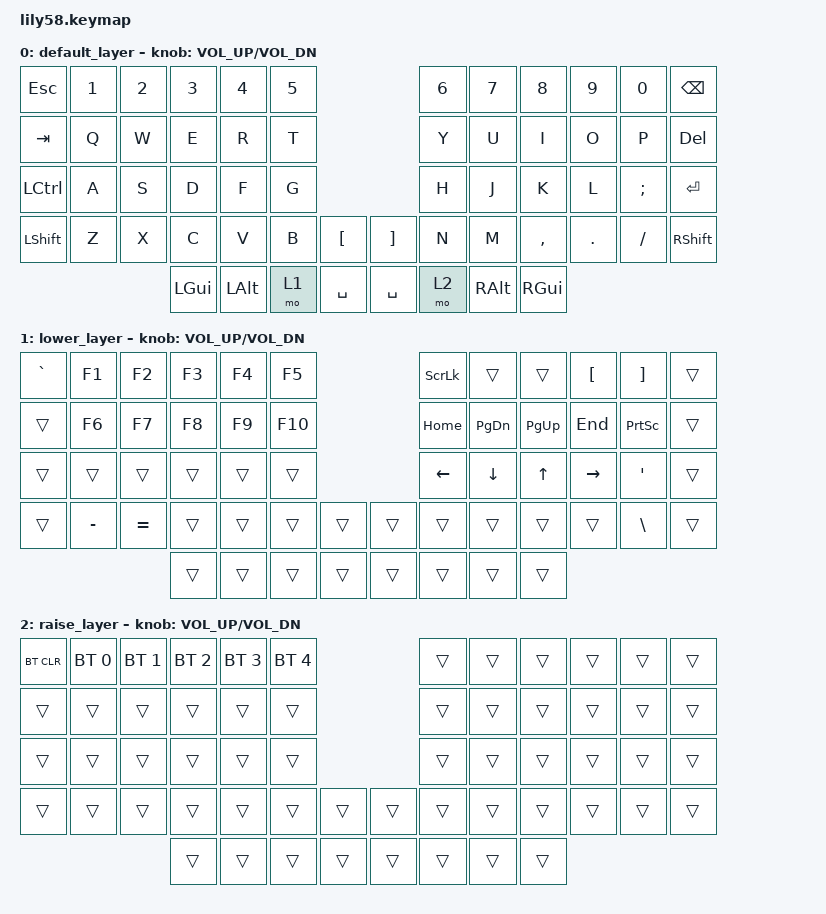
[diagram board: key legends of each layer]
/*
 * Copyright (c) 2020 The ZMK Contributors
 *
 * SPDX-License-Identifier: MIT
 */

#include <behaviors.dtsi>
#include <dt-bindings/zmk/keys.h>
#include <dt-bindings/zmk/bt.h>
#include <dt-bindings/zmk/ext_power.h>

/ {
    keymap {
        compatible = "zmk,keymap";

        default_layer {
// ------------------------------------------------------------------------------------------------------------
// |  ESC  |  1  |  2  |  3   |  4   |  5   |                   |  6   |  7    |  8    |  9   |   0   |   `   |
// |  TAB  |  Q  |  W  |  E   |  R   |  T   |                   |  Y   |  U    |  I    |  O   |   P   |   -   |
// |  CTRL |  A  |  S  |  D   |  F   |  G   |                   |  H   |  J    |  K    |  L   |   ;   |   '   |
// | SHIFT |  Z  |  X  |  C   |  V   |  B   |   "["  |  |  "]"  |  N   |  M    |  ,    |  .   |   /   | SHIFT |
//                     | ALT  | GUI  | LOWER|  SPACE |  | ENTER | RAISE| BSPC  | GUI   |
            bindings = <
&kp ESC   &kp N1 &kp N2 &kp N3   &kp N4   &kp N5                        &kp N6 &kp N7   &kp N8    &kp N9  &kp N0   &kp BSPC
&kp TAB   &kp Q  &kp W  &kp E    &kp R    &kp T                         &kp Y  &kp U    &kp I     &kp O   &kp P    &kp DEL 
&kp LCTRL &kp A  &kp S  &kp D    &kp F    &kp G                         &kp H  &kp J    &kp K     &kp L   &kp SEMI &kp RET
&kp LSHFT &kp Z  &kp X  &kp C    &kp V    &kp B  &kp LBKT    &kp RBKT   &kp N  &kp M    &kp COMMA &kp DOT &kp FSLH &kp RSHFT
                        &kp LGUI &kp LALT &mo 1  &kp SPACE   &kp SPACE  &mo 2  &kp RALT &kp RGUI
            >;

            sensor-bindings = <&inc_dec_kp C_VOL_UP C_VOL_DN>;
        };

        lower_layer {
// ------------------------------------------------------------------------------------------------------------
// |   `   |  F1 |  F2 |  F3  |  F4  |  F5  |                   | SLCK |       |       | "["  |  "]"  |       |
// |       |  F6 |  F7 |  F8  |  F9  |  F10 |                   | HOME | PG_DN | PG_UP |  END | PSCRN |       |
// |       |     |     |      |      |      |                   |  <-  |   v   |   ^   |  ->  |  '    |       |
// |       |  -  |  =  |      |      |      |        |  |       |      |       |       |      |   \   |       |
//                     |      |      |      |        |  |       |      |       |       |
            bindings = <
&kp GRAVE &kp F1    &kp F2    &kp F3 &kp F4 &kp F5                   &kp SLCK &trans    &trans    &kp LBKT  &kp RBKT  &trans
&trans    &kp F6    &kp F7    &kp F8 &kp F9 &kp F10                  &kp HOME &kp PG_DN &kp PG_UP &kp END   &kp PSCRN &trans
&trans    &trans    &trans    &trans &trans &trans                   &kp LEFT &kp DOWN  &kp UP    &kp RIGHT &kp SQT   &trans
&trans    &kp MINUS &kp EQUAL &trans &trans &trans &trans     &trans &trans   &trans    &trans    &trans    &kp BSLH  &trans
                              &trans &trans &trans &trans     &trans &trans   &trans    &trans
            >;

            sensor-bindings = <&inc_dec_kp C_VOL_UP C_VOL_DN>;
        };

        raise_layer {
// ------------------------------------------------------------------------------------------------------------
// | BTCLR | BT1 | BT2 |  BT3 |  BT4 |  BT5 |                   |      |       |       |      |       |       |
// |       |     |     |      |      |      |                   |      |       |       |      |       |       |
// |       |     |     |      |      |      |                   |      |       |       |      |       |       |
// |       |     |     |      |      |      |        |  |       |      |       |       |      |       |       |
//                     |      |      |      |        |  |       |      |       |       |
            bindings = <
&bt BT_CLR &bt BT_SEL 0 &bt BT_SEL 1 &bt BT_SEL 2 &bt BT_SEL 3 &bt BT_SEL 4                &trans &trans &trans &trans &trans &trans
&trans     &trans       &trans       &trans       &trans       &trans                      &trans &trans &trans &trans &trans &trans
&trans     &trans       &trans       &trans       &trans       &trans                      &trans &trans &trans &trans &trans &trans
&trans     &trans       &trans       &trans       &trans       &trans      &trans   &trans &trans &trans &trans &trans &trans &trans
                                     &trans       &trans       &trans      &trans   &trans &trans &trans &trans
            >;

            sensor-bindings = <&inc_dec_kp C_VOL_UP C_VOL_DN>;
        };
    };
};
